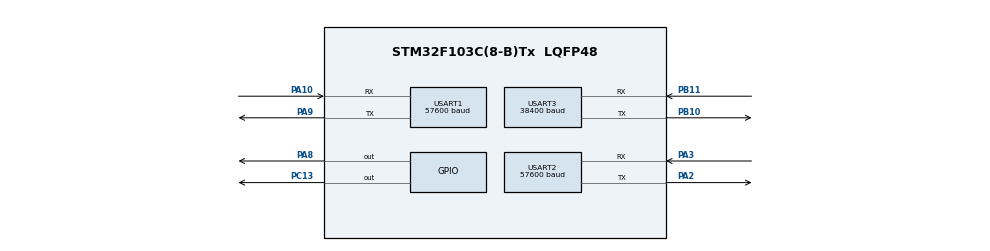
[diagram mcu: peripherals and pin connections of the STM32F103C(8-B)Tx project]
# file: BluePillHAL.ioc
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Mcu.Family=STM32F1
FREERTOS.Tasks01=defaultTask,0,128,StartDefaultTask,Default,NULL,Dynamic,NULL,NULL
PA10.Mode=Asynchronous
PB10.Mode=Asynchronous
USART1.BaudRate=57600
PC13-TAMPER-RTC.Signal=GPIO_Output
NVIC.TIM1_UP_IRQn=true\:0\:0\:false\:false\:true\:false\:false\:true
PB11.Signal=USART3_RX
VP_SYS_VS_ND.Mode=No_Debug
USART2.BaudRate=57600
ProjectManager.StackSize=0x400
PA3.Mode=Asynchronous
PA9.Mode=Asynchronous
USART3.BaudRate=38400
PB11.Mode=Asynchronous
ProjectManager.TargetToolchain=STM32CubeIDE
PA9.Signal=USART1_TX
PB10.Signal=USART3_TX
board=custom
RCC.APB2Freq_Value=8000000
VP_SYS_VS_tim1.Mode=TIM1
PA8.Signal=GPIO_Output
VP_FREERTOS_VS_CMSIS_V1.Mode=CMSIS_V1
Mcu.Name=STM32F103C(8-B)Tx
PA2.Signal=USART2_TX
Mcu.Package=LQFP48
NVIC.TimeBase=TIM1_UP_IRQn
USART2.VirtualMode=VM_ASYNC
USART3.VirtualMode=VM_ASYNC
USART1.VirtualMode=VM_ASYNC
NVIC.TimeBaseIP=TIM1
PA10.Signal=USART1_RX
ProjectManager.HeapSize=0x200
NVIC.PriorityGroup=NVIC_PRIORITYGROUP_4
PA2.Mode=Asynchronous
RCC.APB1Freq_Value=8000000
PA3.Signal=USART2_RX

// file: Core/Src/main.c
/* USER CODE BEGIN Header */
/**
  ******************************************************************************
  * @file           : main.c
  * @brief          : Main program body
  ******************************************************************************
  * @attention
  *
  * <h2><center>&copy; Copyright (c) 2021 STMicroelectronics.
  * All rights reserved.</center></h2>
  *
  * This software component is licensed by ST under BSD 3-Clause license,
  * the "License"; You may not use this file except in compliance with the
  * License. You may obtain a copy of the License at:
  *                        opensource.org/licenses/BSD-3-Clause
  *
  ******************************************************************************
  */
/* USER CODE END Header */
#include "main.h"
#include "cmsis_os.h"

/* USER CODE BEGIN PD */
#define SARA_LTEM 7
#define SARA_NBIOT 8
/* USER CODE END PD */

UART_HandleTypeDef huart1;
UART_HandleTypeDef huart2;
UART_HandleTypeDef huart3;

osThreadId defaultTaskHandle;
/* USER CODE BEGIN PV */
uint8_t randSeq[2];
uint8_t stry[2];

uint8_t testSara[3];

uint8_t SARAresult[128];
uint8_t SARAtech[50];
uint8_t testing[] = ".";
uint8_t SARAate0[] = "ATE0\r\n";
uint8_t SARAumnoprof[] = "AT+UMNOPROF=100\r\n";
uint8_t SARAcops[] = "AT+COPS=0,2\r\n";
uint8_t SARAconnLTE[] = "AT+URAT=7\r\n";
uint8_t SARAconnNB[] = "AT+URAT=8\r\n";
uint8_t SARAcopsCheck[] = "AT+COPS?\r\n";
uint8_t SARAcsq[] = "AT+CSQ\r\n";
uint8_t SARAcesq[] = "AT+CESQ\r\n";
uint8_t SARAcfun15[] = "AT+CFUN=15\r\n";
const uint8_t crlf[] = "\r\n";
uint8_t SARATechnology[1];
uint8_t SARARsrpRsrq[6];
uint8_t SARAcsqResult[4];
uint8_t SaraMeasurements[128];
uint8_t saraCESQmessage[70];
uint8_t saraCSQmessage[50];
uint8_t LTEMTechName[] = "lte-m,";
uint8_t NBIoTTechName[] = "nb-iot,";

uint8_t syncLora[] = "AT+MAC=?\r\n";
//uint8_t beginLora[] = "AT+MAC=ON\r\n";
uint8_t beginLora[] = "AT+MAC=ON,3,A,1\r\n";
uint8_t getLoraLCR[] = "AT+MAC=SNDLCR\r\n";
uint8_t beginSigfox[] = "AT+SF=ON\r\n";
uint8_t sigfoxSendBinCommand[] = "AT+SF=SNDBIN,";
uint8_t sigfoxEnd[] = ",0\r\n";
uint8_t getGPSCoordsCommand[] = "<G>\r\n";
uint8_t loraTechName[] = "lora,";
uint8_t sigfoxTechName[] = "sigfox,";
uint8_t currentGPSCoords[80];
uint8_t currentLoraSignalQuality[69];
uint8_t trash[128];
uint8_t loraMeasurements[128];
uint8_t sigfoxMeasurements[128];

int sigfoxSeq = 0;
uint8_t myInt[5];
char* sigfoxArr;

uint8_t beginDelim[] = "<";
uint8_t endDelim[] = ">";

typedef enum {
  LTEM,
  NBIOT,
  LORA,
  SIGFOX
} lpwan_technology ;

HAL_StatusTypeDef  HAL_STATUS_UART1;
HAL_StatusTypeDef  HAL_STATUS_UART3;
/* USER CODE END PV */

void SystemClock_Config(void);
static void MX_GPIO_Init(void);
static void MX_USART1_UART_Init(void);
static void MX_USART2_UART_Init(void);
static void MX_USART3_UART_Init(void);
void StartDefaultTask(void const * argument);

/* USER CODE BEGIN 0 */

void SARA_Init() {
	HAL_UART_Transmit(&huart1, SARAate0, strlen(SARAate0), 50);
	HAL_UART_Receive(&huart1, trash, 128, 100);
	osDelay(500);
	HAL_UART_Transmit(&huart1, SARAumnoprof, strlen(SARAumnoprof), 50);
	HAL_UART_Receive(&huart1, trash, 128, 100);
	osDelay(500);

	HAL_UART_Transmit(&huart1, SARAcops, strlen(SARAcops), 50);
	HAL_UART_Receive(&huart1, trash, 128, 100);
	osDelay(500);
	HAL_UART_Transmit(&huart1, SARAconnLTE, strlen(SARAconnLTE), 50);
	HAL_UART_Receive(&huart1, trash, 128, 100);

	HAL_UART_Transmit(&huart1, SARAate0, strlen(SARAate0), 50);
	HAL_UART_Receive(&huart1, trash, 128, 100);

	osDelay(500);
	HAL_UART_Receive(&huart1, trash, 128, 100);

}

void nemeus_Power_Cycle() {
	HAL_GPIO_WritePin(GPIOA, GPIO_PIN_8, GPIO_PIN_RESET);
    osDelay(1500);
    HAL_GPIO_WritePin(GPIOA, GPIO_PIN_8, GPIO_PIN_SET);

    HAL_UART_Receive(&huart3, trash, 128, 150);

	HAL_UART_Transmit(&huart3, syncLora, strlen(syncLora), 10);
	HAL_UART_Receive(&huart3, trash, 128, 100);
	osDelay(500);

	HAL_UART_Transmit(&huart3, beginLora, strlen(beginLora), 10);
	HAL_UART_Receive(&huart3, trash, 128, 100);

	memset(trash, '\0', 128);

	HAL_UART_Receive(&huart3, trash, 10, 40000);
	HAL_UART_Receive(&huart3, trash, 128, 100);

	HAL_UART_Transmit(&huart3, beginSigfox, strlen(beginSigfox), 10);
	HAL_UART_Receive(&huart3, trash, 128, 100);
	osDelay(50);
	HAL_UART_Receive(&huart3, trash, 128, 100);

}

void SARA_Get_Measurement(uint8_t * cmd){
	HAL_UART_Transmit(&huart1, cmd, strlen(cmd), 10);
	HAL_UART_Receive(&huart1, SARAresult, 128, 100);
}

void SARA_ChangeTech(uint8_t tech){ //tech should be 9 for NB
	uint8_t lpwanTechnology[12];
	if(tech == '7'){
		strcpy(lpwanTechnology,SARAconnLTE);
	}
	else if (tech == '9') {
		strcpy(lpwanTechnology,SARAconnNB);
	}
	HAL_UART_Transmit(&huart1, lpwanTechnology, strlen(lpwanTechnology), 50);
	HAL_UART_Receive(&huart1, trash, 128, 100);

	HAL_UART_Transmit(&huart1, SARAcfun15, strlen(SARAcfun15), 50);
	HAL_UART_Receive(&huart1, trash, 128, 100);

	// Wait for device to restart
	osDelay(7500);

	HAL_UART_Transmit(&huart1, SARAate0, strlen(SARAate0), 50);
	HAL_UART_Receive(&huart1, trash, 128, 250);

	if (tech == '9'){ // give NB-IoT additional boot-up time.
		osDelay(2000);
	}

	HAL_UART_Transmit(&huart1, SARAate0, strlen(SARAate0), 50);
	HAL_UART_Receive(&huart1, trash, 128, 250);

	int i = 0;
	int msgLength;
	do {
		SARA_CheckTech();
		msgLength = strlen(SARAtech);
		getResultParameterURAT(3, SARAtech, msgLength);
		osDelay(200);
		osDelay(1500);
		i++;
		if(i > 3){
			__HAL_UART_FLUSH_DRREGISTER(&huart1);
			if(&huart1.ErrorCode == HAL_UART_ERROR_ORE){
				HAL_UART_Receive(&huart1, trash, 1, 20);
			}

			HAL_UART_Transmit(&huart1, SARAate0, strlen(SARAate0), 50);
			HAL_UART_Receive(&huart1, trash, 128, 250);
		}
	} while (SARATechnology[0] != tech && i < 5);

}

void SARA_CheckTech(){
	memset(SARAtech,'\0',50);
	HAL_UART_Transmit(&huart1, SARAcopsCheck, strlen(SARAcopsCheck), 10);
	HAL_UART_Receive(&huart1, SARAtech, 50, 1500);
	osDelay(200);//sendToESP(SARAtech);
}

void getResultParameterURAT(int nParam, uint8_t * msg, int msgLength){
	memset(SARATechnology,'\0',1);
	int commaCnt = 0;
	int i = 0;
	osDelay(200);
	while (msg[i] != '\0' && i < msgLength){
		osDelay(50);
		if(msg[i] == ',' && commaCnt == nParam-1){
			SARATechnology[0] = msg[i+1];
			return;
		} else if(msg[i] == ','){
			commaCnt++;
		}
		i++;
	}
}

void getResultParameterCESQ(int nParam, uint8_t * msg){
	int commaCnt = 0;
	int i = 0;
	int j = 1;
	while (msg[i] != '\0'){
		if(msg[i] == ',' && commaCnt == nParam-1){
			while (j <= 5 && msg[i+j] != '\r' && msg[i+j] != '\n'){
				SARARsrpRsrq[j-1] = msg[i+j];
				j++;
			}
			return;
		} else if(msg[i] == ','){
			commaCnt++;
		}
		i++;
	}
}

void getCSQResult(uint8_t * msg){
	int i = 8;
	int j = 0;
	while (msg[i] != ',' && msg[i] != '\0' && msg[i] != '\r' && msg[i] != '\n' && j < 4){
		SARAcsqResult[j] = msg[i];
		i++;
		j++;
	}
}

void getGPSCoordinates(){
	int cnt = 0;
	memset(currentGPSCoords,'\0',80);
    HAL_UART_Transmit(&huart1, getGPSCoordsCommand, strlen(getGPSCoordsCommand), 50);
    HAL_UART_Receive(&huart1, currentGPSCoords, 80, 250);

    while (strlen(currentGPSCoords) < 18 && cnt < 5){
    	memset(currentGPSCoords,'\0',80);
    	HAL_UART_Receive(&huart1, trash, 128, 250);
        HAL_UART_Transmit(&huart1, getGPSCoordsCommand, strlen(getGPSCoordsCommand), 50);
        HAL_UART_Receive(&huart1, currentGPSCoords, 80, 500);
        osDelay(250);
        cnt++;
    }

}

void prepareSaraMeasurement(int technology){
	memset(SaraMeasurements,'\0',128);
	if (technology == SARA_LTEM){
		strcpy(SaraMeasurements,LTEMTechName);
	}
	if (technology == SARA_NBIOT){
		strcpy(SaraMeasurements,NBIoTTechName);
	}

	strcat(SaraMeasurements,currentGPSCoords);
	strcat(SaraMeasurements,SARARsrpRsrq);
	strcat(SaraMeasurements,",");
	strcat(SaraMeasurements,SARAcsqResult);

	memset(currentGPSCoords,'\0',80);
	memset(SARARsrpRsrq,'\0',6);
	memset(SARAcsqResult,'\0',4);

	memset(saraCESQmessage,'\0',70);
	memset(saraCSQmessage,'\0',50);
}

void NEMEUS_Extract_Lora_Measurements(uint8_t * cmd){
	int i = 8; // start after '+MAC: '
	int j = 0;

	while(i < 69 && cmd[i] != '\n' && cmd[i] != '\0' && cmd[i] != '\r'){
		currentLoraSignalQuality[j] = cmd[i];
		i++;
		j++;
	}
}

void NEMEUS_Prepare_Lora_Measurements(){

	strcpy(loraMeasurements,loraTechName);
	strcat(loraMeasurements,currentGPSCoords);
	strcat(loraMeasurements,currentLoraSignalQuality);

	memset(currentGPSCoords,'\0',80);
}

void NEMEUS_Prepare_Sigfox_Measurements(){
	strcpy(sigfoxMeasurements,sigfoxTechName);
	strcat(sigfoxMeasurements,currentGPSCoords);
	strcat(sigfoxMeasurements,randSeq);
	strcat(sigfoxMeasurements,sigfoxArr);
}

/* USER CODE END 0 */

int main(void)
{

  /* MCU Configuration--------------------------------------------------------*/

  /* Reset of all peripherals, Initializes the Flash interface and the Systick. */
  HAL_Init();

  /* Configure the system clock */
  SystemClock_Config();

  /* Initialize all configured peripherals */
  MX_GPIO_Init();
  MX_USART1_UART_Init();
  MX_USART2_UART_Init();
  MX_USART3_UART_Init();
  /* USER CODE BEGIN 2 */

  HAL_GPIO_WritePin(GPIOA, GPIO_PIN_8, GPIO_PIN_SET);

  CoreDebug->DEMCR |= CoreDebug_DEMCR_TRCENA_Msk;
  DWT->CYCCNT = 0;
  DWT->CTRL |= DWT_CTRL_CYCCNTENA_Msk;
  srand(DWT->CYCCNT-HAL_GetTick());
  int x = rand();
  int y = rand();
  sprintf(randSeq, "%X", x%16);
  sprintf(stry, "%X", y%16);
  strcat(randSeq, stry);

  /* USER CODE END 2 */

  /* Create the thread(s) */
  /* definition and creation of defaultTask */
  osThreadDef(defaultTask, StartDefaultTask, osPriorityNormal, 0, 128);
  defaultTaskHandle = osThreadCreate(osThread(defaultTask), NULL);

  /* Start scheduler */
  osKernelStart();

  /* We should never get here as control is now taken by the scheduler */
  /* Infinite loop */
  while (1)
  {

  }
}

void SystemClock_Config(void)
{
  RCC_OscInitTypeDef RCC_OscInitStruct = {0};
  RCC_ClkInitTypeDef RCC_ClkInitStruct = {0};

  /** Initializes the RCC Oscillators according to the specified parameters
  * in the RCC_OscInitTypeDef structure.
  */
  RCC_OscInitStruct.OscillatorType = RCC_OSCILLATORTYPE_HSI;
  RCC_OscInitStruct.HSIState = RCC_HSI_ON;
  RCC_OscInitStruct.HSICalibrationValue = RCC_HSICALIBRATION_DEFAULT;
  RCC_OscInitStruct.PLL.PLLState = RCC_PLL_NONE;
  if (HAL_RCC_OscConfig(&RCC_OscInitStruct) != HAL_OK)
  {
    Error_Handler();
  }
  /** Initializes the CPU, AHB and APB buses clocks
  */
  RCC_ClkInitStruct.ClockType = RCC_CLOCKTYPE_HCLK|RCC_CLOCKTYPE_SYSCLK
                              |RCC_CLOCKTYPE_PCLK1|RCC_CLOCKTYPE_PCLK2;
  RCC_ClkInitStruct.SYSCLKSource = RCC_SYSCLKSOURCE_HSI;
  RCC_ClkInitStruct.AHBCLKDivider = RCC_SYSCLK_DIV1;
  RCC_ClkInitStruct.APB1CLKDivider = RCC_HCLK_DIV1;
  RCC_ClkInitStruct.APB2CLKDivider = RCC_HCLK_DIV1;

  if (HAL_RCC_ClockConfig(&RCC_ClkInitStruct, FLASH_LATENCY_0) != HAL_OK)
  {
    Error_Handler();
  }
}

static void MX_USART1_UART_Init(void)
{

  huart1.Instance = USART1;
  huart1.Init.BaudRate = 57600;
  huart1.Init.WordLength = UART_WORDLENGTH_8B;
  huart1.Init.StopBits = UART_STOPBITS_1;
  huart1.Init.Parity = UART_PARITY_NONE;
  huart1.Init.Mode = UART_MODE_TX_RX;
  huart1.Init.HwFlowCtl = UART_HWCONTROL_NONE;
  huart1.Init.OverSampling = UART_OVERSAMPLING_16;
  if (HAL_UART_Init(&huart1) != HAL_OK)
  {
    Error_Handler();
  }

}

static void MX_USART2_UART_Init(void)
{

  huart2.Instance = USART2;
  huart2.Init.BaudRate = 57600;
  huart2.Init.WordLength = UART_WORDLENGTH_8B;
  huart2.Init.StopBits = UART_STOPBITS_1;
  huart2.Init.Parity = UART_PARITY_NONE;
  huart2.Init.Mode = UART_MODE_TX_RX;
  huart2.Init.HwFlowCtl = UART_HWCONTROL_NONE;
  huart2.Init.OverSampling = UART_OVERSAMPLING_16;
  if (HAL_UART_Init(&huart2) != HAL_OK)
  {
    Error_Handler();
  }

}

static void MX_USART3_UART_Init(void)
{

  huart3.Instance = USART3;
  huart3.Init.BaudRate = 38400;
  huart3.Init.WordLength = UART_WORDLENGTH_8B;
  huart3.Init.StopBits = UART_STOPBITS_1;
  huart3.Init.Parity = UART_PARITY_NONE;
  huart3.Init.Mode = UART_MODE_TX_RX;
  huart3.Init.HwFlowCtl = UART_HWCONTROL_NONE;
  huart3.Init.OverSampling = UART_OVERSAMPLING_16;
  if (HAL_UART_Init(&huart3) != HAL_OK)
  {
    Error_Handler();
  }

}

static void MX_GPIO_Init(void)
{
  GPIO_InitTypeDef GPIO_InitStruct = {0};

  /* GPIO Ports Clock Enable */
  __HAL_RCC_GPIOC_CLK_ENABLE();
  __HAL_RCC_GPIOA_CLK_ENABLE();
  __HAL_RCC_GPIOB_CLK_ENABLE();

  /*Configure GPIO pin Output Level */
  HAL_GPIO_WritePin(GPIOC, GPIO_PIN_13, GPIO_PIN_RESET);

  /*Configure GPIO pin Output Level */
  HAL_GPIO_WritePin(GPIOA, GPIO_PIN_8, GPIO_PIN_RESET);

  /*Configure GPIO pin : PC13 */
  GPIO_InitStruct.Pin = GPIO_PIN_13;
  GPIO_InitStruct.Mode = GPIO_MODE_OUTPUT_PP;
  GPIO_InitStruct.Pull = GPIO_NOPULL;
  GPIO_InitStruct.Speed = GPIO_SPEED_FREQ_LOW;
  HAL_GPIO_Init(GPIOC, &GPIO_InitStruct);

  /*Configure GPIO pin : PA8 */
  GPIO_InitStruct.Pin = GPIO_PIN_8;
  GPIO_InitStruct.Mode = GPIO_MODE_OUTPUT_PP;
  GPIO_InitStruct.Pull = GPIO_NOPULL;
  GPIO_InitStruct.Speed = GPIO_SPEED_FREQ_LOW;
  HAL_GPIO_Init(GPIOA, &GPIO_InitStruct);

}

/* USER CODE BEGIN 4 */

void sendToESP(uint8_t * msg) {
	HAL_UART_Transmit(&huart2, beginDelim, 1, 50);
	HAL_UART_Transmit(&huart2, msg, strlen(msg), 50);
	HAL_UART_Transmit(&huart2, endDelim, 1, 50);
}

void collectSARAMeasurements(){

    HAL_UART_Transmit(&huart1, SARAcesq, strlen(SARAcesq), 50);
    HAL_UART_Receive(&huart1, saraCESQmessage, 70, 150);
    getResultParameterCESQ(4, saraCESQmessage);

    HAL_UART_Transmit(&huart1, SARAcsq, strlen(SARAcsq), 50);
    HAL_UART_Receive(&huart1, saraCSQmessage, 50, 150);

    getCSQResult(saraCSQmessage);

}
char* convertIntegerToChar(int N)
{

    int m = N;
    int digit = 0;
    while (m) {
        digit++;
        m /= 10;
    }

    char* arr;
    char arr1[digit];

    arr = (char*)malloc(digit);

    int index = 0;
    while (N) {
        arr1[++index] = N % 10 + '0';
        N /= 10;
    }

    if (index < 4){
        for (int j = 0; j < 4-index; j++){
            arr[j] = '0';
        }
    }

    int i;
    int k = 0;
    for (i = 4-index; i < 4; i++){
        arr[i] = arr1[index-k];
        k++;
    }
    arr[i] = '\0';
    return (char*)arr;
}

/* USER CODE END 4 */

void StartDefaultTask(void const * argument)
{
  /* USER CODE BEGIN 5 */

  uint8_t debugTest[] = "AT+DEBUG=ME?";
  osDelay(4500);
  SARA_Init();
  nemeus_Power_Cycle();

  uint8_t sigfoxSend[30];
  uint8_t LoRaMessage[69];
  uint8_t SigFoxMessage[69];

  for(;;)
  {
    osDelay(1000);

    HAL_GPIO_TogglePin(GPIOC, GPIO_PIN_13);

    // **** SARA STUFF ****
    // ********************

    SARA_ChangeTech('7');

    collectSARAMeasurements();
    getGPSCoordinates();
    prepareSaraMeasurement(SARA_LTEM);
    sendToESP(SaraMeasurements);

    memset(SaraMeasurements, '\0', 128);

	SARA_ChangeTech('9');

    collectSARAMeasurements();
    getGPSCoordinates();
    prepareSaraMeasurement(SARA_NBIOT);
    sendToESP(SaraMeasurements);

    memset(SaraMeasurements, '\0', 128);

    // **** NEMEUS STUFF ****
    // **********************
    HAL_UART_Receive(&huart3,trash,10,100);
    HAL_UART_Transmit(&huart3, getLoraLCR, strlen(getLoraLCR), 50);
    HAL_UART_Receive(&huart3, LoRaMessage, 69, 5000);

    if(strstr("ERROR",LoRaMessage) != NULL){
    	nemeus_Power_Cycle();
    	memset(LoRaMessage, '\0', 69);
    	HAL_UART_Receive(&huart3, trash, 128, 150);
        HAL_UART_Transmit(&huart3, getLoraLCR, strlen(getLoraLCR), 50);
        HAL_UART_Receive(&huart3, LoRaMessage, 69, 10000);
    }
    NEMEUS_Extract_Lora_Measurements(LoRaMessage);

    getGPSCoordinates();

    NEMEUS_Prepare_Lora_Measurements();

    sendToESP(loraMeasurements);

	// Sigfox:

    sigfoxArr = convertIntegerToChar(sigfoxSeq);
    strcpy(sigfoxSend,sigfoxSendBinCommand);
    strcat(sigfoxSend,randSeq);
    strcat(sigfoxSend,sigfoxArr);
    strcat(sigfoxSend,sigfoxEnd);

    HAL_UART_Transmit(&huart3, sigfoxSend, 30, 50);
	HAL_UART_Receive(&huart3, SigFoxMessage, 69, 1500);

	getGPSCoordinates();
    NEMEUS_Prepare_Sigfox_Measurements();

    sendToESP(sigfoxMeasurements);

    HAL_UART_Transmit(&huart2, crlf, strlen(crlf), 50);

	memset(SigFoxMessage, '\0', 69);
	memset(LoRaMessage, '\0', 69);
	memset(currentGPSCoords,'\0',80);
	memset(currentLoraSignalQuality,'\0',69);
	memset(loraMeasurements,'\0',128);
	memset(sigfoxMeasurements,'\0',128);
	memset(sigfoxSend,'\0',30);
	free(sigfoxArr);
	sigfoxSeq++;

	nemeus_Power_Cycle();

  }
  /* USER CODE END 5 */
}

 /**
  * @brief  Period elapsed callback in non blocking mode
  * @note   This function is called  when TIM1 interrupt took place, inside
  * HAL_TIM_IRQHandler(). It makes a direct call to HAL_IncTick() to increment
  * a global variable "uwTick" used as application time base.
  * @param  htim : TIM handle
  * @retval None
  */
void HAL_TIM_PeriodElapsedCallback(TIM_HandleTypeDef *htim)
{
  if (htim->Instance == TIM1) {
    HAL_IncTick();
  }
}

void Error_Handler(void)
{
  __disable_irq();
  while (1)
  {
  }
}

/************************ (C) COPYRIGHT STMicroelectronics *****END OF FILE****/
